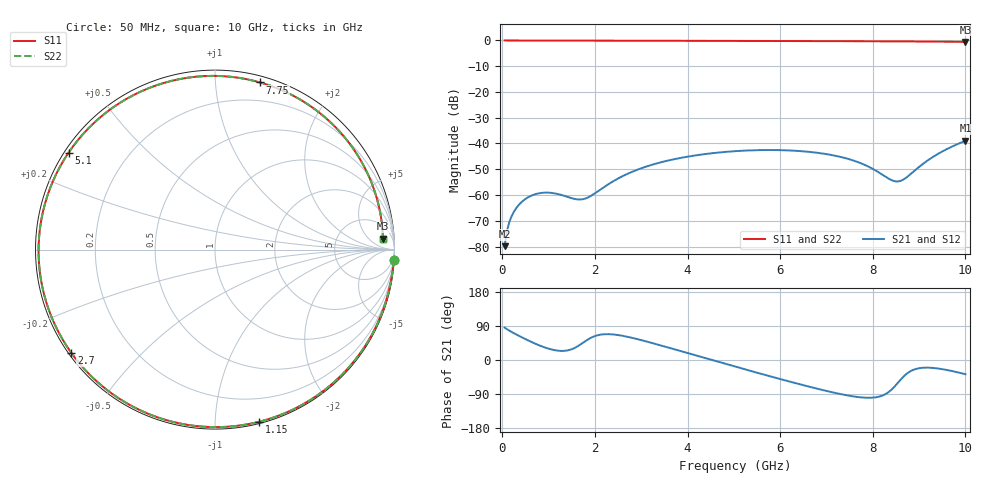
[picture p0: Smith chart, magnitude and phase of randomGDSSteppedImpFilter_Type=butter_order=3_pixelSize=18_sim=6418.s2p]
! freq	dB(S11)	phase(S11)	dB(S12)	phase(S12)
!  dB(S21)	phase(S21)	dB(S22)	phase(S22)
!S-par simulation data
#  GHz  S  DB  R 50
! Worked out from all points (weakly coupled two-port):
!   200 points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, 50 MHz to 10 GHz, reference 50 ohm
!   highest |S21| = -38.97 dB at 10 GHz (marker M1); lowest = -79.9 dB at 50 MHz (marker M2)
!   lowest |S11| = -0.6 dB at 10 GHz (marker M3), VSWR 31.12, Z = 770 + j777 ohm
!   |S11| at or under -10 dB: nowhere
!   |S22| runs from -0.6 to 0.0 dB; largest |S21 - S12| = 0
!   S11 on the Smith chart (normalised r, x): 50 MHz: 1, -33; 1.15 GHz: 0.01, -1.29; 2.7 GHz: 0.01, -0.32; 5.1 GHz: 0.01, +0.30; 7.75 GHz: 0.05, +1.30; 10 GHz: 15, +16
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0.05  -0.02 -3.4  -79.86 85.6  -79.86 85.6  -0.02 -3.4
0.1  -0.03 -7.0  -73.97 81.4  -73.97 81.4  -0.03 -7.0
0.15  -0.04 -10.6  -70.60 77.6  -70.60 77.6  -0.04 -10.6
0.25  -0.04 -17.6  -66.52 70.8  -66.52 70.8  -0.04 -17.6
0.4  -0.05 -28.1  -63.02 61.2  -63.02 61.2  -0.05 -28.1
0.75  -0.06 -51.4  -59.51 41.1  -59.51 41.1  -0.06 -51.4
1.15  -0.08 -75.5  -59.43 25.5  -59.43 25.5  -0.08 -75.5
1.75  -0.11 -106.3  -61.59 46.2  -61.59 46.2  -0.11 -106.3
2.2  -0.12 -125.6  -56.89 68.0  -56.89 68.0  -0.12 -125.6
2.7  -0.12 -144.3  -51.81 61.3  -51.81 61.3  -0.12 -144.3
3.4  -0.14 -166.9  -47.42 39.2  -47.42 39.2  -0.14 -166.9
4.2  -0.16 170.3  -44.55 11.3  -44.55 11.3  -0.16 170.3
5.05  -0.19 147.7  -42.96 -18.2  -42.96 -18.2  -0.19 147.7
5.1  -0.19 146.4  -42.90 -19.9  -42.90 -19.9  -0.19 146.4
5.95  -0.22 124.3  -42.57 -48.6  -42.57 -48.6  -0.22 124.3
6.7  -0.26 104.4  -43.40 -72.7  -43.40 -72.7  -0.26 104.3
7.75  -0.31 75.0  -47.73 -98.7  -47.73 -98.7  -0.31 74.9
8.35  -0.35 57.1  -53.72 -83.9  -53.72 -83.9  -0.35 57.0
8.5  -0.36 52.5  -54.73 -66.1  -54.73 -66.1  -0.36 52.5
8.65  -0.38 47.9  -54.10 -45.4  -54.10 -45.4  -0.38 47.8
9.3  -0.44 27.2  -45.23 -20.9  -45.23 -20.9  -0.44 27.1
10  -0.56 3.7  -38.97 -37.5  -38.97 -37.5  -0.56 3.6
